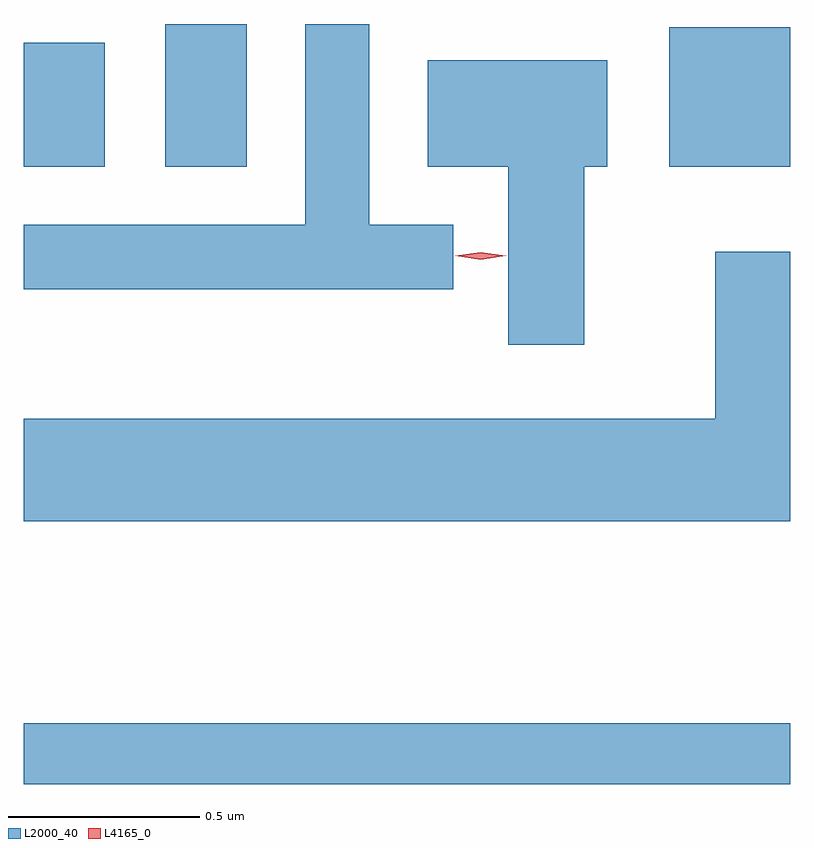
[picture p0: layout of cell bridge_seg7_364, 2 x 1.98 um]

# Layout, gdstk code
import gdstk
lib = gdstk.Library(unit=1e-6, precision=1e-09)
def R(c, l, rs):  # rectangles x0, y0, x1, y1
    for r in rs: c.add(gdstk.rectangle(r[:2], r[2:], *l))
def P(c, l, *ps):  # polygons
    for p in ps: c.add(gdstk.Polygon(p, *l))
L2000_40 = (2000, 40)
L4165_0 = (4165, 0)

bridge_seg7_364 = lib.new_cell('bridge_seg7_364')
R(bridge_seg7_364, L2000_40, [(1222.427,1778.011,1224.427,1778.169), (1222.427,1779.621,1222.639,1779.944), (1222.796,1779.621,1223.009,1779.993), (1224.111,1779.621,1224.427,1779.984)])
P(bridge_seg7_364, L2000_40, [(1223.548,1779.469),(1223.329,1779.469),(1223.329,1779.993),(1223.161,1779.993),(1223.161,1779.469),(1222.427,1779.469),(1222.427,1779.301),(1223.548,1779.301)],
  [(1223.889,1779.621),(1223.949,1779.621),(1223.949,1779.899),(1223.481,1779.899),(1223.481,1779.621),(1223.691,1779.621),(1223.691,1779.156),(1223.889,1779.156)],
  [(1224.427,1779.399),(1224.231,1779.399),(1224.231,1778.964),(1222.427,1778.964),(1222.427,1778.696),(1224.427,1778.696)])
P(bridge_seg7_364, L4165_0, [(1223.619,1779.378),(1223.553,1779.388),(1223.552,1779.388),(1223.553,1779.389),(1223.619,1779.398),(1223.685,1779.389),(1223.686,1779.388),(1223.685,1779.388)])

lib.write_gds('bridge_seg7_364.gds')
